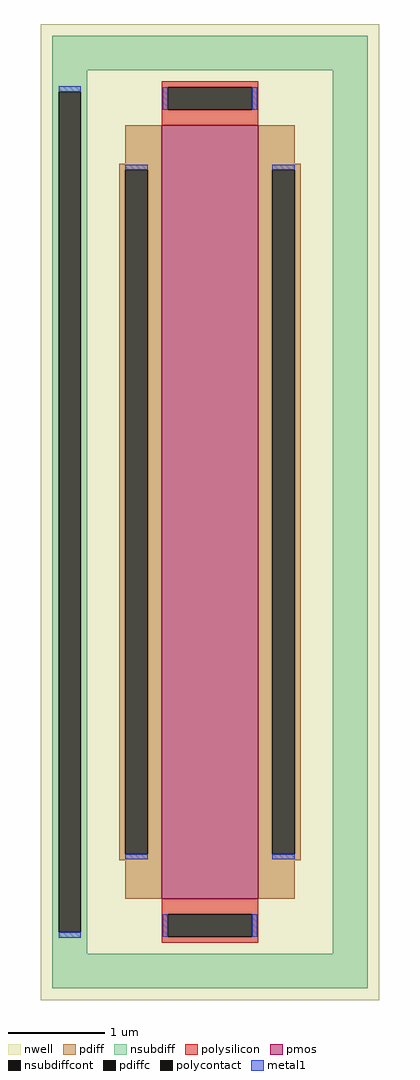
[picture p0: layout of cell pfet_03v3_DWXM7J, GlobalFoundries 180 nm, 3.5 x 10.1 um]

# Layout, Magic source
magic
tech gf180mcuD
magscale 1 10
<< nwell >>
rect -350 -1010 350 1010
<< pmos >>
rect -100 -800 100 800
<< pdiff >>
rect -175 721 -100 800
rect -188 708 -100 721
rect -188 -708 -175 708
rect -129 -708 -100 708
rect -188 -721 -100 -708
rect -175 -800 -100 -721
rect 100 721 175 800
rect 100 708 188 721
rect 100 -708 129 708
rect 175 -708 188 708
rect 100 -721 188 -708
rect 100 -800 175 -721
<< pdiffc >>
rect -175 -708 -129 708
rect 129 -708 175 708
<< nsubdiff >>
rect -326 914 326 986
rect -326 870 -254 914
rect -326 -870 -313 870
rect -267 -870 -254 870
rect -326 -914 -254 -870
rect 254 -914 326 914
rect -326 -986 326 -914
<< nsubdiffcont >>
rect -313 -870 -267 870
<< polysilicon >>
rect -100 879 100 892
rect -100 833 -87 879
rect 87 833 100 879
rect -100 800 100 833
rect -100 -833 100 -800
rect -100 -879 -87 -833
rect 87 -879 100 -833
rect -100 -892 100 -879
<< polycontact >>
rect -87 833 87 879
rect -87 -879 87 -833
<< metal1 >>
rect -313 870 -267 881
rect -98 833 -87 879
rect 87 833 98 879
rect -175 708 -129 719
rect -175 -719 -129 -708
rect 129 708 175 719
rect 129 -719 175 -708
rect -313 -881 -267 -870
rect -98 -879 -87 -833
rect 87 -879 98 -833
<< properties >>
string FIXED_BBOX -290 -950 290 950
string gencell pfet_03v3
string library gf180mcu
string parameters w 8 l 1 m 1 nf 1 diffcov 90 polycov 100 guard 1 glc 1 grc 0 gtc 0 gbc 0 tbcov 100 rlcov 100 topc 1 botc 1 poverlap 0 doverlap 0 lmin 0.28 wmin 0.22 class mosfet full_metal 0 compatible {pfet_03v3 pfet_05v0 pfet_06v0}
<< end >>
